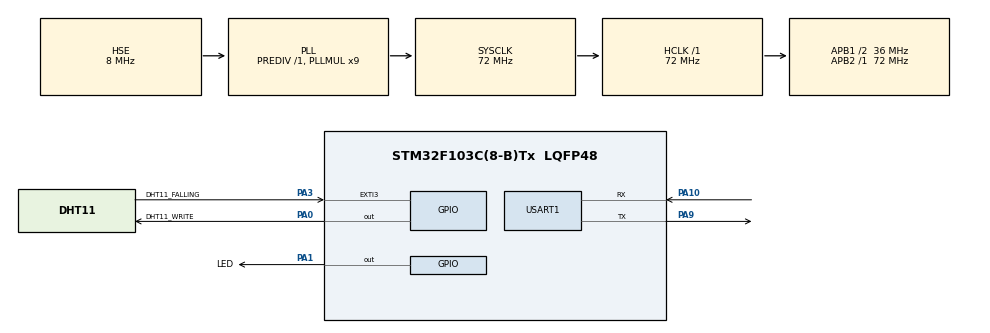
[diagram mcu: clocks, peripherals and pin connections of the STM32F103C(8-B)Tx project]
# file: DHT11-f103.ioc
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Mcu.Family=STM32F1
Mcu.Name=STM32F103C(8-B)Tx
Mcu.Package=LQFP48
NVIC.EXTI3_IRQn=true\:0\:0\:false\:false\:true\:true\:true
NVIC.PriorityGroup=NVIC_PRIORITYGROUP_4
PA0-WKUP.GPIO_Label=DHT11_WRITE
PA0-WKUP.GPIO_ModeDefaultOutputPP=GPIO_MODE_OUTPUT_OD
PA0-WKUP.GPIO_PuPd=GPIO_PULLUP
PA0-WKUP.GPIO_Speed=GPIO_SPEED_FREQ_HIGH
PA0-WKUP.PinState=GPIO_PIN_SET
PA0-WKUP.Signal=GPIO_Output
PA1.GPIO_Label=LED
PA1.GPIO_ModeDefaultOutputPP=GPIO_MODE_OUTPUT_OD
PA1.PinState=GPIO_PIN_SET
PA1.Signal=GPIO_Output
PA10.Mode=Asynchronous
PA10.Signal=USART1_RX
PA13.Mode=Serial_Wire
PA13.Signal=SYS_JTMS-SWDIO
PA14.Mode=Serial_Wire
PA14.Signal=SYS_JTCK-SWCLK
PA3.GPIO_Label=DHT11_FALLING
PA3.GPIO_ModeDefaultEXTI=GPIO_MODE_IT_FALLING
PA3.Signal=GPXTI3
PA9.Mode=Asynchronous
PA9.Signal=USART1_TX
PD0-OSC_IN.Mode=HSE-External-Oscillator
PD0-OSC_IN.Signal=RCC_OSC_IN
PD1-OSC_OUT.Mode=HSE-External-Oscillator
PD1-OSC_OUT.Signal=RCC_OSC_OUT
ProjectManager.HeapSize=0x200
ProjectManager.StackSize=0x400
ProjectManager.TargetToolchain=SW4STM32
RCC.AHBFreq_Value=72000000
RCC.APB1CLKDivider=RCC_HCLK_DIV2
RCC.APB1Freq_Value=36000000
RCC.APB1TimFreq_Value=72000000
RCC.APB2Freq_Value=72000000
RCC.APB2TimFreq_Value=72000000
RCC.HCLKFreq_Value=72000000
RCC.PLLMUL=RCC_PLL_MUL9
RCC.PLLSourceVirtual=RCC_PLLSOURCE_HSE
RCC.SYSCLKFreq_VALUE=72000000
RCC.SYSCLKSource=RCC_SYSCLKSOURCE_PLLCLK
RCC.USBFreq_Value=72000000
TIM3.Period=2000-1
TIM3.Prescaler=72-1
USART1.VirtualMode=VM_ASYNC
VP_TIM3_VS_ClockSourceINT.Mode=Internal
board=custom

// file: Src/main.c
/* USER CODE BEGIN Header */
/**
  ******************************************************************************
  * @file           : main.c
  * @brief          : Main program body
  ******************************************************************************
  * @attention
  *
  * <h2><center>&copy; Copyright (c) 2019 STMicroelectronics.
  * All rights reserved.</center></h2>
  *
  * This software component is licensed by ST under BSD 3-Clause license,
  * the "License"; You may not use this file except in compliance with the
  * License. You may obtain a copy of the License at:
  *                        opensource.org/licenses/BSD-3-Clause
  *
  ******************************************************************************
  */
/* USER CODE END Header */

#include "main.h"
#include "tim.h"
#include "usart.h"
#include "gpio.h"

/* USER CODE BEGIN Includes */

	#include <string.h>
	#include <stdio.h>

/* USER CODE END Includes */

/* USER CODE BEGIN PTD */

volatile uint32_t dht_value[100];
volatile uint32_t dht_bit;

/* USER CODE END PTD */

/* USER CODE BEGIN PD */

#define CHECK_BIT(var, pos) (((var) & (1UL << (pos))) != 0)
//#define SET_BIT(var, pos) ((var) |= (1UL << (pos)))
#define CLR_BIT(var, pos) (var &= ~(1UL << (pos)))

/* USER CODE END PD */

void SystemClock_Config(void);
/* USER CODE BEGIN PFP */

void local_delay(unsigned int t);
uint8_t reorder (uint8_t _in);

/* USER CODE END PFP */

int main(void)
{

  /* MCU Configuration--------------------------------------------------------*/

  /* Reset of all peripherals, Initializes the Flash interface and the Systick. */
  HAL_Init();

  /* Configure the system clock */
  SystemClock_Config();

  /* Initialize all configured peripherals */
  MX_GPIO_Init();
  MX_USART1_UART_Init();
  MX_TIM3_Init();
  /* USER CODE BEGIN 2 */

  	  HAL_TIM_Base_Start(&htim3);
	char DataChar[100];
	sprintf(DataChar,"\r\n DHT11\r\nUART1 for debug started on speed 115200\r\n");
	HAL_UART_Transmit(&huart1, (uint8_t *)DataChar, strlen(DataChar), 100);

	  HAL_GPIO_WritePin(DHT11_WRITE_GPIO_Port, DHT11_WRITE_Pin, GPIO_PIN_RESET);
	  HAL_Delay(20);
	  HAL_GPIO_WritePin(DHT11_WRITE_GPIO_Port, DHT11_WRITE_Pin, GPIO_PIN_SET);

  /* USER CODE END 2 */

  /* Infinite loop */
  /* USER CODE BEGIN WHILE */

  while (1)
  {
	  HAL_GPIO_TogglePin(LED_GPIO_Port, LED_Pin);

	  uint8_t temp = 0;
	  uint8_t hugo = 0;
	  uint8_t   cs = 0;

	  HAL_GPIO_WritePin(DHT11_WRITE_GPIO_Port, DHT11_WRITE_Pin, GPIO_PIN_RESET);
	  HAL_Delay(20);
	  HAL_GPIO_WritePin(DHT11_WRITE_GPIO_Port, DHT11_WRITE_Pin, GPIO_PIN_SET);
	  dht_bit = 0;
	  HAL_Delay(500);

	  for (int i=2; i<42; i++) {
		sprintf(DataChar,"  %03d" , (int)dht_value[i]);
		HAL_UART_Transmit(&huart1, (uint8_t *)DataChar, strlen(DataChar), 100);

	    if ( (dht_value[i] > 66) && (dht_value[i] < 88) ) {
			  sprintf(DataChar,"(0)");
			  HAL_UART_Transmit(&huart1, (uint8_t *)DataChar, strlen(DataChar), 100);
	    }

		if ( (dht_value[i] > 115) && (dht_value[i] < 135) ) {
			  sprintf(DataChar,"(1)");
			  HAL_UART_Transmit(&huart1, (uint8_t *)DataChar, strlen(DataChar), 100);
			  if (i < 13)						hugo = hugo | (1UL << (i-2      ) );
			  else if ((i > 15) && (i < 30))	temp = temp | (1UL << (i-2-16   ) );
			  else if  (i > 30)					cs 	 =   cs | (1UL << (i-2-16-16) );
		}

		if ( (i>7) && ((i-1)%8 == 0) ) {
			sprintf(DataChar,"\r\n");
			HAL_UART_Transmit(&huart1, (uint8_t *)DataChar, strlen(DataChar), 100);
		}
	  }

	  hugo = reorder(hugo);
	  temp = reorder(temp);
	  cs   = reorder(  cs);

	sprintf(DataChar,"hugo:%d; temp:%d;", (int)hugo, (int)temp );
	HAL_UART_Transmit(&huart1, (uint8_t *)DataChar, strlen(DataChar), 100);
	if (cs == hugo + temp) {
		sprintf(DataChar," cs->Ok." );
		HAL_UART_Transmit(&huart1, (uint8_t *)DataChar, strlen(DataChar), 100);
	} else {
		sprintf(DataChar," cs:%d;", (int)cs );
		HAL_UART_Transmit(&huart1, (uint8_t *)DataChar, strlen(DataChar), 100);
	}
	sprintf(DataChar,"\r\n \r\n");
		HAL_UART_Transmit(&huart1, (uint8_t *)DataChar, strlen(DataChar), 100);

    /* USER CODE END WHILE */

  }
}

void SystemClock_Config(void)
{
  RCC_OscInitTypeDef RCC_OscInitStruct = {0};
  RCC_ClkInitTypeDef RCC_ClkInitStruct = {0};

  /** Initializes the CPU, AHB and APB busses clocks
  */
  RCC_OscInitStruct.OscillatorType = RCC_OSCILLATORTYPE_HSE;
  RCC_OscInitStruct.HSEState = RCC_HSE_ON;
  RCC_OscInitStruct.HSEPredivValue = RCC_HSE_PREDIV_DIV1;
  RCC_OscInitStruct.HSIState = RCC_HSI_ON;
  RCC_OscInitStruct.PLL.PLLState = RCC_PLL_ON;
  RCC_OscInitStruct.PLL.PLLSource = RCC_PLLSOURCE_HSE;
  RCC_OscInitStruct.PLL.PLLMUL = RCC_PLL_MUL9;
  if (HAL_RCC_OscConfig(&RCC_OscInitStruct) != HAL_OK)
  {
    Error_Handler();
  }
  /** Initializes the CPU, AHB and APB busses clocks
  */
  RCC_ClkInitStruct.ClockType = RCC_CLOCKTYPE_HCLK|RCC_CLOCKTYPE_SYSCLK
                              |RCC_CLOCKTYPE_PCLK1|RCC_CLOCKTYPE_PCLK2;
  RCC_ClkInitStruct.SYSCLKSource = RCC_SYSCLKSOURCE_PLLCLK;
  RCC_ClkInitStruct.AHBCLKDivider = RCC_SYSCLK_DIV1;
  RCC_ClkInitStruct.APB1CLKDivider = RCC_HCLK_DIV2;
  RCC_ClkInitStruct.APB2CLKDivider = RCC_HCLK_DIV1;

  if (HAL_RCC_ClockConfig(&RCC_ClkInitStruct, FLASH_LATENCY_2) != HAL_OK)
  {
    Error_Handler();
  }
}

/* USER CODE BEGIN 4 */

/***************************************************************/
uint8_t reorder (uint8_t _in) {
	uint8_t result = 0;
	for (int i=0; i<8; i++) {
		if (CHECK_BIT(_in,i)) {
			result |= (1UL << (7-i));
		}
	}
	return result;
}
/***************************************************************/

void local_delay(unsigned int t) {
	for (; t > 0; t--) {
		__asm("nop");
	}
}
/***************************************************************/

/* USER CODE END 4 */

void Error_Handler(void)
{
}

/************************ (C) COPYRIGHT STMicroelectronics *****END OF FILE****/
